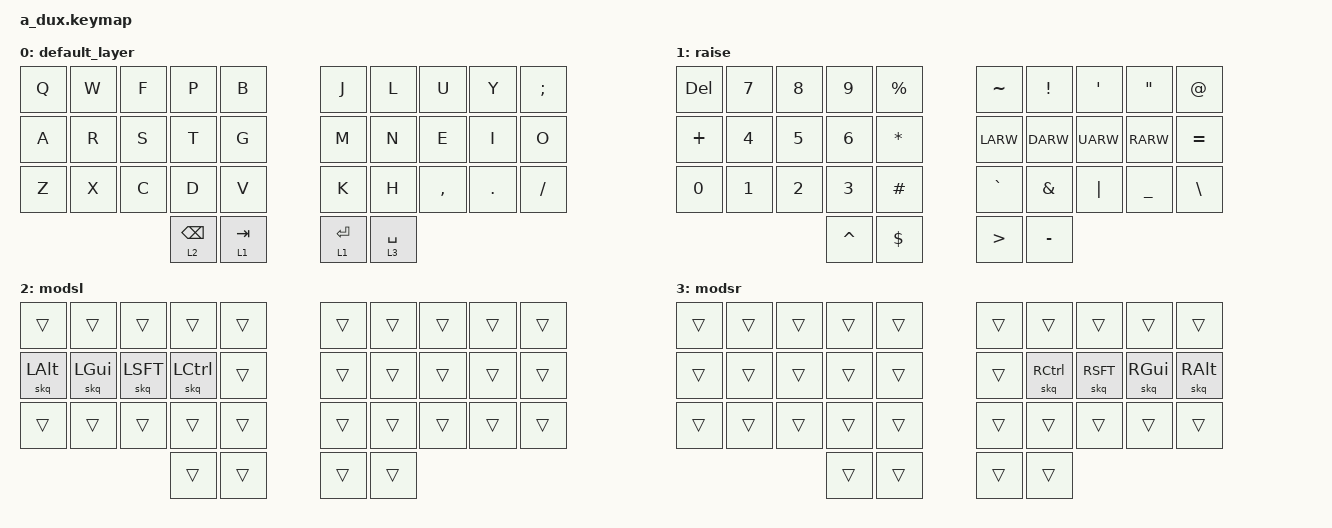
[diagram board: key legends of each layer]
/*
 * Copyright (c) 2021 The ZMK Contributors
 *
 * SPDX-License-Identifier: MIT
 */

#include <behaviors.dtsi>
#include <dt-bindings/zmk/keys.h>
#include <dt-bindings/zmk/bt.h>
#include <dt-bindings/zmk/outputs.h>

&lt { quick_tap_ms = <100>; };

/ {
        behaviors {
                skq: sticky_key_quick_release {
                        compatible = "zmk,behavior-sticky-key";
                        label = "STICKY_KEY_QUICK_RELEASE";
                        #binding-cells = <1>;
                        bindings = <&kp>;
                        release-after-ms = <1000>;
                        quick-release;
                };
                combos {
                        compatible = "zmk,combos";
                        // symbols
                        c_LBRC {
                                timeout-ms = <50>;
                                key-positions = <17 27>;
                                bindings = <&kp LBRC>;
                        };
                        c_RBRC {
                                timeout-ms = <50>;
                                key-positions = <7 17>;
                                bindings = <&kp RBRC>;
                        };
                        c_LPAR {
                                timeout-ms = <50>;
                                key-positions = <18 28>;
                                bindings = <&kp LPAR>;
                        };
                        c_RPAR {
                                timeout-ms = <50>;
                                key-positions = <8 18>;
                                bindings = <&kp RPAR>;
                        };
                        c_LBKT {
                                timeout-ms = <50>;
                                key-positions = <16 26>;
                                bindings = <&kp LBKT>;
                        };
                        c_RBKT {
                                timeout-ms = <50>;
                                key-positions = <6 16>;
                                bindings = <&kp RBKT>;
                        };
                        // common shortcuts
                        c_AGL {
                                timeout-ms = <50>;
                                key-positions = <1 11>;
                                bindings = <&kp LA(LG(LARW))>;
                        };
                        c_AGR {
                                timeout-ms = <50>;
                                key-positions = <2 12>;
                                bindings = <&kp LA(LG(RARW))>;
                        };
                        c_GBL {
                                timeout-ms = <50>;
                                key-positions = <11 21>;
                                bindings = <&kp LG(LBKT)>;
                        };
                        c_GBR {
                                timeout-ms = <50>;
                                key-positions = <12 22>;
                                bindings = <&kp LG(RBKT)>;
                        };
                        c_ASU {
                                timeout-ms = <50>;
                                key-positions = <3 13>;
                                bindings = <&kp LA(LS(DARW))>;
                        };
                        c_ASD {
                                timeout-ms = <50>;
                                key-positions = <13 23>;
                                bindings = <&kp LA(LS(UARW))>;
                        };
                        // misc
                        c_esc {
                                timeout-ms = <50>;
                                key-positions = <27 28>;
                                bindings = <&kp ESCAPE>;
                        };
                        c_CLR {
                                timeout-ms = <50>;
                                key-positions = <1 2 4>;
                                bindings = <&bt BT_CLR>;
                        };
                        c_OUT {
                                timeout-ms = <50>;
                                key-positions = <5 6 8>;
                                bindings = <&out OUT_TOG>;
                        };
                        c_RST {
                                timeout-ms = <50>;
                                key-positions = <1 2 3>;
                                bindings = <&reset>;
                        };
                        c_CAPSLOCK {
                                timeout-ms = <50>;
                                key-positions = <12 17>;
                                bindings = <&kp CAPSLOCK>;
                        };
                        c_T {
                                timeout-ms = <50>;
                                key-positions = <2 3>;
                                bindings = <&kp B>;
                        };
                        c_Y {
                                timeout-ms = <50>;
                                key-positions = <6 7>;
                                bindings = <&kp J>;
                        };
                        c_B {
                                timeout-ms = <50>;
                                key-positions = <22 23>;
                                bindings = <&kp V>;
                        };
                        c_N {
                                timeout-ms = <50>;
                                key-positions = <26 27>;
                                bindings = <&kp K>;
                        };
                };
        };

        keymap {
                compatible = "zmk,keymap";
                default_layer {
                        bindings = <
      &kp Q     &kp W    &kp F     &kp P        &kp B         &kp J      &kp L          &kp U        &kp Y      &kp SEMI
      &kp A     &kp R    &kp S     &kp T        &kp G         &kp M      &kp N          &kp E        &kp I      &kp O
      &kp Z     &kp X    &kp C     &kp D        &kp V         &kp K      &kp H          &kp COMMA    &kp DOT    &kp FSLH
                                   &lt 2 BKSP   &lt 1 TAB     &lt 1 RET  &lt 3 SPACE
                        >;
                };

                raise {
                        bindings = <
    &kp DEL     &kp N7      &kp N8       &kp N9      &kp PRCNT          &kp TILDE  &kp EXCL    &kp SQT   &kp DQT     &kp AT
    &kp PLUS    &kp N4      &kp N5       &kp N6      &kp STAR           &kp LARW   &kp DARW    &kp UARW  &kp RARW    &kp EQUAL
    &kp N0      &kp N1      &kp N2       &kp N3      &kp HASH           &kp GRAVE  &kp AMPS    &kp PIPE  &kp UNDER   &kp BSLH
                                         &kp CARET   &kp DLLR           &kp GT     &kp MINUS
                        >;
                };

                modsl {
                        bindings = <
    &trans      &trans       &trans       &trans      &trans      &trans    &trans     &trans    &trans      &trans
    &skq LALT   &skq LGUI    &skq LSFT    &skq LCTL   &trans      &trans    &trans     &trans    &trans      &trans
    &trans      &trans       &trans       &trans      &trans      &trans    &trans     &trans    &trans      &trans
                                          &trans      &trans      &trans    &trans
                        >;
                };

                modsr {
                        bindings = <
    &trans      &trans   &trans   &trans    &trans      &trans    &trans       &trans        &trans      &trans
    &trans      &trans   &trans   &trans    &trans      &trans    &skq RCTL    &skq RSFT     &skq RGUI   &skq RALT
    &trans      &trans   &trans   &trans    &trans      &trans    &trans       &trans        &trans      &trans
                                  &trans    &trans      &trans    &trans
                        >;
                };
        };
};

/**
Base Layer
 Q | W | E | R | T      Y | U | I     | O   | P
 A | S | D | F | G      H | J | K     | L   | SEMI
 Z | X | C | V | B      N | M | COMMA | DOT | FSLH
    &lt 1 BKSP | TAB  RET | &lt 1 SPACE

Layer 1
 DEL | 7   | 8   | 9 | %     ~ | ! | ' | " | @
   + | 4   | 5   | 6 | *     l | d | u | r | =
   0 | 1   | 2   | 3 | #     ` | & | | | _ | \
                   ^ | $     > | -

Vertical Combos
   x | AG< | AG> | ASU | x     x | ] | } | ) | x
   x | G[  | G]  | ASD | x     x | [ | { | ( | x

Horizontal Combos
   x   | Q   | T   | x        x | Y   | P   | x
   ALT | GUI | CTL | x        x | CTL | GUI | ALT
   x   | x   | B   | x        x | N   | ESC | x

Shift
 Home row ring and index finger
*/
